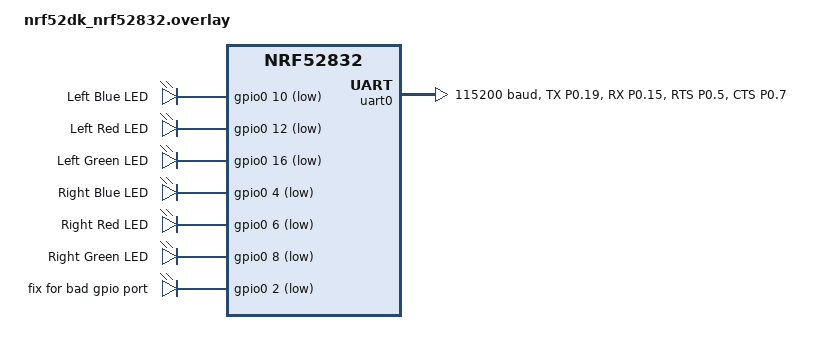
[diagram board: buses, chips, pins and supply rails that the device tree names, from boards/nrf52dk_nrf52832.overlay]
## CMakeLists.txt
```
# SPDX-License-Identifier: Apache-2.0

cmake_minimum_required(VERSION 3.20.0)
find_package(Zephyr REQUIRED HINTS $ENV{ZEPHYR_BASE})
project(servo_motor)

target_sources(app PRIVATE
    src/main.c
    src/rules.c
    src/utility.c
    src/chat_cli.c
    src/model_handler.c
)
```

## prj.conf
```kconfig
#
# Copyright (c) 2020 Nordic Semiconductor ASA
#
# SPDX-License-Identifier: LicenseRef-Nordic-5-Clause
#
CONFIG_STDOUT_CONSOLE=y
CONFIG_PRINTK=y
#CONFIG_PWM=y
CONFIG_NCS_SAMPLES_DEFAULTS=y

CONFIG_LOG=y
#CONFIG_SPI=y
CONFIG_NEWLIB_LIBC=y


# This driver only uses spi_write() with the SPIM instance it allocates,
# so PAN 58 doesn't matter, because the RX length is always 0.
#CONFIG_SOC_NRF52832_ALLOW_SPIM_DESPITE_PAN_58=y

# Deffered logging helps improve LPN power consumption
# when friendship is established.
CONFIG_LOG_MODE_DEFERRED=y

# General configuration
CONFIG_SYSTEM_WORKQUEUE_STACK_SIZE=2048
CONFIG_FLASH=y
CONFIG_FLASH_MAP=y
CONFIG_NVS=y
CONFIG_SETTINGS=y
CONFIG_HWINFO=y
CONFIG_DK_LIBRARY=y
								  
CONFIG_PM_SINGLE_IMAGE=y
CONFIG_PM_PARTITION_SIZE_SETTINGS_STORAGE=0x8000

# Bluetooth configuration
CONFIG_BT=y
CONFIG_BT_COMPANY_ID=0x0059
CONFIG_BT_DEVICE_NAME="Mesh Chat"
CONFIG_BT_L2CAP_TX_MTU=69
CONFIG_BT_L2CAP_TX_BUF_COUNT=8
CONFIG_BT_CTLR_DATA_LENGTH_MAX=37
CONFIG_BT_BUF_ACL_TX_SIZE=37
CONFIG_BT_OBSERVER=y
CONFIG_BT_PERIPHERAL=y
CONFIG_BT_SETTINGS=y

# Disable unused Bluetooth features
CONFIG_BT_CTLR_DUP_FILTER_LEN=0
CONFIG_BT_CTLR_LE_ENC=n
						   
CONFIG_BT_PHY_UPDATE=n
CONFIG_BT_CTLR_CHAN_SEL_2=n
CONFIG_BT_CTLR_MIN_USED_CHAN=n
CONFIG_BT_CTLR_PRIVACY=n

# Bluetooth Mesh configuration
CONFIG_BT_MESH=y
CONFIG_BT_MESH_RELAY=y
CONFIG_BT_MESH_FRIEND=y
CONFIG_BT_MESH_ADV_BUF_COUNT=13
CONFIG_BT_MESH_RX_SEG_MAX=10
CONFIG_BT_MESH_TX_SEG_MAX=20
CONFIG_BT_MESH_TX_SEG_MSG_COUNT=3

CONFIG_BT_MESH_PB_GATT=y
CONFIG_BT_MESH_GATT_PROXY=y
CONFIG_BT_MESH_DK_PROV=y

# Enable Bluetooth mesh models debug logs
CONFIG_BT_DEBUG_LOG=y
#z CONFIG_BT_MESH_LOG_LEVEL_DBG=y

# Enable Shell module and use UART as a backend
# CONFIG_SHELL=y
# CONFIG_SHELL_BACKEND_SERIAL=y

# 32kHz clock source
CONFIG_CLOCK_CONTROL_NRF_K32SRC_RC=y
CONFIG_CLOCK_CONTROL_NRF_K32SRC_500PPM=y

# Enable UART
CONFIG_SERIAL=y
CONFIG_UART_CONSOLE=y
```

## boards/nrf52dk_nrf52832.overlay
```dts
/* SPDX-License-Identifier: Apache-2.0 */
#include <zephyr/dt-bindings/led/led.h>
#include "../nrf52-bindings.h"






&led0 {
	status = "disabled";
};
&led1 {
	status = "disabled";
};
&led2 {
	status = "disabled";
};
&led3 {
	status = "disabled";
};

&button0 {
	status = "disabled";
};

&button1 {
	status = "disabled";
};
&button2 {
	status = "disabled";
};
&button3 {
	status = "disabled";
};



arduino_serial: &uart0 {
	status = "okay";
	compatible = "nordic,nrf-uarte";
	current-speed = <115200>;
	pinctrl-0 = <&uart0_default>;
	pinctrl-1 = <&uart0_sleep>;
	pinctrl-names = "default", "sleep";
};


/ {
	zleds {
		compatible = "gpio-leds";
		
		leda: led_a {
			gpios = <&gpio0 10 GPIO_ACTIVE_LOW>;
			label = "Left Blue LED";
		};			   
		ledb: led_b {
			gpios = <&gpio0 12 GPIO_ACTIVE_LOW>;
			label = "Left Red LED";
		};
		ledc: led_c {
			gpios = <&gpio0 16 GPIO_ACTIVE_LOW>;
			label = "Left Green LED";
		};
		ledd: led_d {
			gpios = <&gpio0 4 GPIO_ACTIVE_LOW>;
			label = "Right Blue LED";
		};	
	
		lede: led_e {
			gpios = <&gpio0 6 GPIO_ACTIVE_LOW>;
			label = "Right Red LED";
		};			   
		ledf: led_f {
			gpios = <&gpio0 8 GPIO_ACTIVE_LOW>;
			label = "Right Green LED";
		};
		ledg: led_g {
			gpios = <&gpio0 2 GPIO_ACTIVE_LOW>;
			label = "fix for bad gpio port";
		};
	};


	buttons {
		compatible = "gpio-keys";
		button0: button_0 {
			gpios = <&gpio0 26 (GPIO_PULL_UP | GPIO_ACTIVE_LOW)>;
			label = "Push button switch 0";
		};
		button1: button_1 {
			gpios = <&gpio0 28 (GPIO_PULL_UP | GPIO_ACTIVE_LOW)>;
			label = "Push button switch 1";
		};
		button2: button_2 {
			gpios = <&gpio0 14 (GPIO_PULL_UP | GPIO_ACTIVE_LOW)>;
			label = "Push button switch 2";
		};
		button3: button_3 {
			gpios = <&gpio0 13 (GPIO_PULL_UP | GPIO_ACTIVE_LOW)>;
			label = "Push button switch 3";
		};
	};
};

&pinctrl {
	uart0_default: uart0_default {
		group1 {
			psels = <NRF_PSEL(UART_TX, 0, 19)>,
			        <NRF_PSEL(UART_RX, 0, 15)>,
			        <NRF_PSEL(UART_RTS, 0, 5)>,
			        <NRF_PSEL(UART_CTS, 0, 7)>;
		};
	};


};
/* SPDX-License-Identifier: Apache-2.0 */
#include <zephyr/dt-bindings/led/led.h>
#include "../nrf52-bindings.h"






&led0 {
	status = "disabled";
};
&led1 {
	status = "disabled";
};
&led2 {
	status = "disabled";
};
&led3 {
	status = "disabled";
};

&button0 {
	status = "disabled";
};

&button1 {
	status = "disabled";
};
&button2 {
	status = "disabled";
};
&button3 {
	status = "disabled";
};



arduino_serial: &uart0 {
	status = "okay";
	compatible = "nordic,nrf-uarte";
	current-speed = <115200>;
	pinctrl-0 = <&uart0_default>;
	pinctrl-1 = <&uart0_sleep>;
	pinctrl-names = "default", "sleep";
};


/ {
	zleds {
		compatible = "gpio-leds";
		
		leda: led_a {
			gpios = <&gpio0 10 GPIO_ACTIVE_LOW>;
			label = "Left Blue LED";
		};			   
		ledb: led_b {
			gpios = <&gpio0 12 GPIO_ACTIVE_LOW>;
			label = "Left Red LED";
		};
		ledc: led_c {
			gpios = <&gpio0 16 GPIO_ACTIVE_LOW>;
			label = "Left Green LED";
		};
		ledd: led_d {
			gpios = <&gpio0 4 GPIO_ACTIVE_LOW>;
			label = "Right Blue LED";
		};	
	
		lede: led_e {
			gpios = <&gpio0 6 GPIO_ACTIVE_LOW>;
			label = "Right Red LED";
		};			   
		ledf: led_f {
			gpios = <&gpio0 8 GPIO_ACTIVE_LOW>;
			label = "Right Green LED";
		};
	};


	buttons {
		compatible = "gpio-keys";
		button0: button_0 {
			gpios = <&gpio0 26 (GPIO_PULL_UP | GPIO_ACTIVE_LOW)>;
			label = "Push button switch 0";
		};
		button1: button_1 {
			gpios = <&gpio0 28 (GPIO_PULL_UP | GPIO_ACTIVE_LOW)>;
			label = "Push button switch 1";
		};
		button2: button_2 {
			gpios = <&gpio0 14 (GPIO_PULL_UP | GPIO_ACTIVE_LOW)>;
			label = "Push button switch 2";
		};
		button3: button_3 {
			gpios = <&gpio0 13 (GPIO_PULL_UP | GPIO_ACTIVE_LOW)>;
			label = "Push button switch 3";
		};
	};
};

&pinctrl {
	uart0_default: uart0_default {
		group1 {
			psels = <NRF_PSEL(UART_TX, 0, 19)>,
			        <NRF_PSEL(UART_RX, 0, 15)>,
			        <NRF_PSEL(UART_RTS, 0, 5)>,
			        <NRF_PSEL(UART_CTS, 0, 7)>;
		};
	};


};
```

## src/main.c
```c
/*
 * Copyright (c) 2016 Intel Corporation
 *
 * SPDX-License-Identifier: Apache-2.0
 */

/**
 * @file Sample app to demonstrate PWM-based servomotor control
 */
#include <stdio.h>
#include <errno.h>
#include <string.h>
#include <zephyr/kernel.h>
#include <zephyr/sys/printk.h>
#include <zephyr/device.h>
#include <zephyr/drivers/uart.h>
#include <zephyr/sys/util.h>
#include <zephyr/bluetooth/bluetooth.h>
#include <bluetooth/mesh/models.h>
#include <bluetooth/mesh/dk_prov.h>
#include <dk_buttons_and_leds.h>
#include "model_handler.h"
#include "rules.h"
#include "utility.h"

#include <zephyr/logging/log.h>
LOG_MODULE_REGISTER(chat, CONFIG_LOG_DEFAULT_LEVEL);

static void bt_ready(int err)
{
	if (err)
	{
		printk("Bluetooth init failed (err %d)\n", err);
		return;
	}

	printk("Bluetooth initialized\n");

	rules_init();
	dk_leds_init();
	dk_buttons_init(NULL);

	err = bt_mesh_init(bt_mesh_dk_prov_init(), model_handler_init());
	if (err)
	{
		printk("Initializing mesh failed (err %d)\n", err);
		return;
	}

	if (IS_ENABLED(CONFIG_SETTINGS))
	{
		settings_load();
	}

	/* This will be a no-op if settings_load() loaded provisioning info */
	bt_mesh_prov_enable(BT_MESH_PROV_ADV | BT_MESH_PROV_GATT);

	printk("Mesh initialized\n");
}

int main(void)
{
	int err;

	z_leds_init();

	err = bt_enable(bt_ready);
	if (err)
	{
		printk("Bluetooth init failed (err %d)\n", err);
	}

	while (1)
	{
		k_sleep(K_MSEC(TICK_INTERVAL_MS));
		timer_tick();
		stateMachine();
	}
	return 0;
}
```

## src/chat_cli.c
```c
/*
 * Copyright (c) 2019 Nordic Semiconductor ASA
 *
 * SPDX-License-Identifier: LicenseRef-Nordic-5-Clause
 */

#include <stdio.h>
#include <errno.h>
#include <string.h>
#include <zephyr/bluetooth/mesh.h>
#include "chat_cli.h"
#include "mesh/net.h"
#include <zephyr/logging/log.h>
LOG_MODULE_DECLARE(chat);

BUILD_ASSERT(BT_MESH_MODEL_BUF_LEN(BT_MESH_CHAT_CLI_OP_MESSAGE,
								   BT_MESH_CHAT_CLI_MSG_MAXLEN_MESSAGE) <=
				 BT_MESH_RX_SDU_MAX,
			 "The message must fit inside an application SDU.");
BUILD_ASSERT(BT_MESH_MODEL_BUF_LEN(BT_MESH_CHAT_CLI_OP_MESSAGE,
								   BT_MESH_CHAT_CLI_MSG_MAXLEN_MESSAGE) <=
				 BT_MESH_TX_SDU_MAX,
			 "The message must fit inside an application SDU.");

static void encode_presence(struct net_buf_simple *buf,
							enum bt_mesh_chat_cli_presence presence)
{
	bt_mesh_model_msg_init(buf, BT_MESH_CHAT_CLI_OP_PRESENCE);
	net_buf_simple_add_u8(buf, presence);
}

static const uint8_t *extract_msg(struct net_buf_simple *buf)
{
	buf->data[buf->len - 1] = '\0';
	return net_buf_simple_pull_mem(buf, buf->len);
}

// Message send to all clients
static int handle_message(struct bt_mesh_model *model, struct bt_mesh_msg_ctx *ctx,
						  struct net_buf_simple *buf)
{
	struct bt_mesh_chat_cli *chat = model->user_data;
	const uint8_t *msg;

	msg = extract_msg(buf);

	if (chat->handlers->message)
	{
		chat->handlers->message(chat, ctx, msg);
	}

	return 0;
}

/* .. include_startingpoint_chat_cli_rst_1 */
static void send_message_reply(struct bt_mesh_chat_cli *chat,
							   struct bt_mesh_msg_ctx *ctx)
{
	BT_MESH_MODEL_BUF_DEFINE(msg, BT_MESH_CHAT_CLI_OP_MESSAGE_REPLY,
							 BT_MESH_CHAT_CLI_MSG_LEN_MESSAGE_REPLY);
	bt_mesh_model_msg_init(&msg, BT_MESH_CHAT_CLI_OP_MESSAGE_REPLY);

	(void)bt_mesh_model_send(chat->model, ctx, &msg, NULL, NULL);
}

// Message send to a specific address
static int handle_private_message(struct bt_mesh_model *model,
								  struct bt_mesh_msg_ctx *ctx,
								  struct net_buf_simple *buf)
{
	struct bt_mesh_chat_cli *chat = model->user_data;
	const uint8_t *msg;

	msg = extract_msg(buf);

	if (chat->handlers->private_message)
	{
		chat->handlers->private_message(chat, ctx, msg);
	}

	send_message_reply(chat, ctx);
	return 0;
}
/* .. include_endpoint_chat_cli_rst_1 */

static int handle_message_reply(struct bt_mesh_model *model, struct bt_mesh_msg_ctx *ctx,
								struct net_buf_simple *buf)
{
	struct bt_mesh_chat_cli *chat = model->user_data;

	if (chat->handlers->message_reply)
	{
		chat->handlers->message_reply(chat, ctx);
	}

	return 0;
}

static int handle_presence(struct bt_mesh_model *model, struct bt_mesh_msg_ctx *ctx,
						   struct net_buf_simple *buf)
{
	struct bt_mesh_chat_cli *chat = model->user_data;
	enum bt_mesh_chat_cli_presence presence;

	presence = net_buf_simple_pull_u8(buf);

	if (chat->handlers->presence)
	{
		chat->handlers->presence(chat, ctx, presence);
	}

	return 0;
}

static int handle_presence_get(struct bt_mesh_model *model, struct bt_mesh_msg_ctx *ctx,
							   struct net_buf_simple *buf)
{
	struct bt_mesh_chat_cli *chat = model->user_data;

	BT_MESH_MODEL_BUF_DEFINE(msg, BT_MESH_CHAT_CLI_OP_PRESENCE,
							 BT_MESH_CHAT_CLI_MSG_LEN_PRESENCE);

	encode_presence(&msg, chat->presence);

	(void)bt_mesh_model_send(chat->model, ctx, &msg, NULL, NULL);

	return 0;
}

/* .. include_startingpoint_chat_cli_rst_2 */
const struct bt_mesh_model_op _bt_mesh_chat_cli_op[] = {
	{BT_MESH_CHAT_CLI_OP_MESSAGE,
	 BT_MESH_LEN_MIN(BT_MESH_CHAT_CLI_MSG_MINLEN_MESSAGE),
	 handle_message},
	{BT_MESH_CHAT_CLI_OP_PRIVATE_MESSAGE,
	 BT_MESH_LEN_MIN(BT_MESH_CHAT_CLI_MSG_MINLEN_MESSAGE),
	 handle_private_message},
	{BT_MESH_CHAT_CLI_OP_MESSAGE_REPLY,
	 BT_MESH_LEN_EXACT(BT_MESH_CHAT_CLI_MSG_LEN_MESSAGE_REPLY),
	 handle_message_reply},
	{BT_MESH_CHAT_CLI_OP_PRESENCE,
	 BT_MESH_LEN_EXACT(BT_MESH_CHAT_CLI_MSG_LEN_PRESENCE),
	 handle_presence},
	{BT_MESH_CHAT_CLI_OP_PRESENCE_GET,
	 BT_MESH_LEN_EXACT(BT_MESH_CHAT_CLI_MSG_LEN_PRESENCE_GET),
	 handle_presence_get},
	BT_MESH_MODEL_OP_END,
};
/* .. include_endpoint_chat_cli_rst_2 */

static int bt_mesh_chat_cli_update_handler(struct bt_mesh_model *model)
{
	struct bt_mesh_chat_cli *chat = model->user_data;

	/* Continue publishing current presence. */
	encode_presence(model->pub->msg, chat->presence);

	return 0;
}

/* .. include_startingpoint_chat_cli_rst_3 */
#ifdef CONFIG_BT_SETTINGS
static int bt_mesh_chat_cli_settings_set(struct bt_mesh_model *model,
										 const char *name,
										 size_t len_rd,
										 settings_read_cb read_cb,
										 void *cb_arg)
{
	struct bt_mesh_chat_cli *chat = model->user_data;

	if (name)
	{
		return -ENOENT;
	}

	ssize_t bytes = read_cb(cb_arg, &chat->presence,
							sizeof(chat->presence));
	if (bytes < 0)
	{
		return bytes;
	}

	if (bytes != 0 && bytes != sizeof(chat->presence))
	{
		return -EINVAL;
	}

	return 0;
}
#endif
/* .. include_endpoint_chat_cli_rst_3 */

/* .. include_startingpoint_chat_cli_rst_4 */
static int bt_mesh_chat_cli_init(struct bt_mesh_model *model)
{
	struct bt_mesh_chat_cli *chat = model->user_data;

	chat->model = model;

	net_buf_simple_init_with_data(&chat->pub_msg, chat->buf,
								  sizeof(chat->buf));
	chat->pub.msg = &chat->pub_msg;
	chat->pub.update = bt_mesh_chat_cli_update_handler;

	return 0;
}
/* .. include_endpoint_chat_cli_rst_4 */

/* .. include_startingpoint_chat_cli_rst_5 */
static int bt_mesh_chat_cli_start(struct bt_mesh_model *model)
{
	struct bt_mesh_chat_cli *chat = model->user_data;

	if (chat->handlers->start)
	{
		chat->handlers->start(chat);
	}

	return 0;
}
/* .. include_endpoint_chat_cli_rst_5 */

/* .. include_startingpoint_chat_cli_rst_6 */
static void bt_mesh_chat_cli_reset(struct bt_mesh_model *model)
{
	struct bt_mesh_chat_cli *chat = model->user_data;

	chat->presence = BT_MESH_CHAT_CLI_PRESENCE_AVAILABLE;

	if (IS_ENABLED(CONFIG_BT_SETTINGS))
	{
		(void)bt_mesh_model_data_store(model, true, NULL, NULL, 0);
	}
}
/* .. include_endpoint_chat_cli_rst_6 */

/* .. include_startingpoint_chat_cli_rst_7 */
const struct bt_mesh_model_cb _bt_mesh_chat_cli_cb = {
	.init = bt_mesh_chat_cli_init,
	.start = bt_mesh_chat_cli_start,
#ifdef CONFIG_BT_SETTINGS
	.settings_set = bt_mesh_chat_cli_settings_set,
#endif
	.reset = bt_mesh_chat_cli_reset,
};
/* .. include_endpoint_chat_cli_rst_7 */

/* .. include_startingpoint_chat_cli_rst_8 */
int bt_mesh_chat_cli_presence_set(struct bt_mesh_chat_cli *chat,
								  enum bt_mesh_chat_cli_presence presence)
{
	if (presence != chat->presence)
	{
		chat->presence = presence;

		if (IS_ENABLED(CONFIG_BT_SETTINGS))
		{
			(void)bt_mesh_model_data_store(chat->model, true,
										   NULL, &presence,
										   sizeof(chat->presence));
		}
	}

	encode_presence(chat->model->pub->msg, chat->presence);

	return bt_mesh_model_publish(chat->model);
}
/* .. include_endpoint_chat_cli_rst_8 */

int bt_mesh_chat_cli_presence_get(struct bt_mesh_chat_cli *chat,
								  uint16_t addr)
{
	struct bt_mesh_msg_ctx ctx = {
		.addr = addr,
		.app_idx = chat->model->keys[0],
		.send_ttl = BT_MESH_TTL_DEFAULT,
		.send_rel = true,
	};

	BT_MESH_MODEL_BUF_DEFINE(buf, BT_MESH_CHAT_CLI_OP_PRESENCE_GET,
							 BT_MESH_CHAT_CLI_MSG_LEN_PRESENCE_GET);
	bt_mesh_model_msg_init(&buf, BT_MESH_CHAT_CLI_OP_PRESENCE_GET);

	return bt_mesh_model_send(chat->model, &ctx, &buf, NULL, NULL);
}
size_t strnlen(const char *s, size_t n); // warning fix
int bt_mesh_chat_cli_message_send(struct bt_mesh_chat_cli *chat,
								  const uint8_t *msg)
{
	struct net_buf_simple *buf = chat->model->pub->msg;

	bt_mesh_model_msg_init(buf, BT_MESH_CHAT_CLI_OP_MESSAGE);

	net_buf_simple_add_mem(buf, msg,
						   strnlen(msg,
								   CONFIG_BT_MESH_CHAT_CLI_MESSAGE_LENGTH));
	net_buf_simple_add_u8(buf, '\0');

	return bt_mesh_model_publish(chat->model);
}

/* .. include_startingpoint_chat_cli_rst_9 */
int bt_mesh_chat_cli_private_message_send(struct bt_mesh_chat_cli *chat,
										  uint16_t addr,
										  const uint8_t *msg)
{
	struct bt_mesh_msg_ctx ctx = {
		.addr = addr,
		.app_idx = chat->model->keys[0],
		.send_ttl = BT_MESH_TTL_DEFAULT,
		.send_rel = true,
	};

	BT_MESH_MODEL_BUF_DEFINE(buf, BT_MESH_CHAT_CLI_OP_PRIVATE_MESSAGE,
							 BT_MESH_CHAT_CLI_MSG_MAXLEN_MESSAGE);
	bt_mesh_model_msg_init(&buf, BT_MESH_CHAT_CLI_OP_PRIVATE_MESSAGE);

	net_buf_simple_add_mem(&buf, msg,
						   strnlen(msg,
								   CONFIG_BT_MESH_CHAT_CLI_MESSAGE_LENGTH));
	net_buf_simple_add_u8(&buf, '\0');

	return bt_mesh_model_send(chat->model, &ctx, &buf, NULL, NULL);
}
/* .. include_endpoint_chat_cli_rst_9 */
```

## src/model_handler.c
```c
/*
 * Copyright (c) 2019 Nordic Semiconductor ASA
 *
 * SPDX-License-Identifier: LicenseRef-Nordic-5-Clause
 */

#include <stdio.h>

#include <zephyr/bluetooth/bluetooth.h>
#include <bluetooth/mesh/models.h>
#include <dk_buttons_and_leds.h>

#include "chat_cli.h"
#include "model_handler.h"
#include "rules.h"
#include "utility.h"

#include <zephyr/logging/log.h>

LOG_MODULE_DECLARE(chat);

static struct k_work_delayable attention_blink_work;
static bool attention;

static void attention_blink(struct k_work *work)
{
	static int idx;
	const uint8_t pattern[] = {
		BIT(0) | BIT(1),
		BIT(1) | BIT(2),
		BIT(2) | BIT(3),
		BIT(3) | BIT(0),
	};

	if (attention)
	{
		dk_set_leds(pattern[idx++ % ARRAY_SIZE(pattern)]);
		k_work_reschedule(&attention_blink_work, K_MSEC(30));
	}
	else
	{
		dk_set_leds(DK_NO_LEDS_MSK);
	}
}

static void attention_on(struct bt_mesh_model *mod)
{
	attention = true;
	k_work_reschedule(&attention_blink_work, K_NO_WAIT);
}

static void attention_off(struct bt_mesh_model *mod)
{
	/* Will stop rescheduling blink timer */
	attention = false;
}

static const struct bt_mesh_health_srv_cb health_srv_cb = {
	.attn_on = attention_on,
	.attn_off = attention_off,
};

static struct bt_mesh_health_srv health_srv = {
	.cb = &health_srv_cb,
};

BT_MESH_HEALTH_PUB_DEFINE(health_pub, 0);

/******************************************************************************/
/***************************** Chat model setup *******************************/
/******************************************************************************/
struct presence_cache
{
	uint16_t addr;
	enum bt_mesh_chat_cli_presence presence;
};

/* Cache of Presence values of other chat clients. */
static struct presence_cache presence_cache[CONFIG_BT_MESH_CHAT_SAMPLE_PRESENCE_CACHE_SIZE];
#if 0
static const uint8_t *presence_string[] = {
	[BT_MESH_CHAT_CLI_PRESENCE_AVAILABLE] = "available",
	[BT_MESH_CHAT_CLI_PRESENCE_AWAY] = "away",
	[BT_MESH_CHAT_CLI_PRESENCE_DO_NOT_DISTURB] = "dnd",
	[BT_MESH_CHAT_CLI_PRESENCE_INACTIVE] = "inactive",
};
#endif

/**
 * Returns true if the specified address is an address of the local element.
 */
static bool address_is_local(struct bt_mesh_model *mod, uint16_t addr)
{
	return bt_mesh_model_elem(mod)->addr == addr;
}

/**
 * Returns true if the provided address is unicast address.
 */
static bool address_is_unicast(uint16_t addr)
{
	return (addr > 0) && (addr <= 0x7FFF);
}

/**
 * Returns true if the node is new or the presence status is different from
 * the one stored in the cache.
 */
static bool presence_cache_entry_check_and_update(uint16_t addr,
												  enum bt_mesh_chat_cli_presence presence)
{
	static size_t presence_cache_head;
	size_t i;

	/* Find address in cache. */
	for (i = 0; i < ARRAY_SIZE(presence_cache); i++)
	{
		if (presence_cache[i].addr == addr)
		{
			if (presence_cache[i].presence == presence)
			{
				return false;
			}

			/* Break since the node in the cache. */
			break;
		}
	}

	/* Not in cache. */
	if (i == ARRAY_SIZE(presence_cache))
	{
		for (i = 0; i < ARRAY_SIZE(presence_cache); i++)
		{
			if (!presence_cache[i].addr)
			{
				break;
			}
		}

		/* Cache is full. */
		if (i == ARRAY_SIZE(presence_cache))
		{
			i = presence_cache_head;
			presence_cache_head = (presence_cache_head + 1) % CONFIG_BT_MESH_CHAT_SAMPLE_PRESENCE_CACHE_SIZE;
		}
	}

	/* Update cache. */
	presence_cache[i].addr = addr;
	presence_cache[i].presence = presence;

	return true;
}

static void print_client_status(void);

static void handle_chat_start(struct bt_mesh_chat_cli *chat)
{
	print_client_status();
}

static void handle_chat_presence(struct bt_mesh_chat_cli *chat,
								 struct bt_mesh_msg_ctx *ctx,
								 enum bt_mesh_chat_cli_presence presence)
{
	if (address_is_local(chat->model, ctx->addr))
	{
		if (address_is_unicast(ctx->recv_dst))
		{
			// shell_print(chat_shell, "<you> are %s",
			// 			presence_string[presence]);
		}
	}
	else
	{
		if (address_is_unicast(ctx->recv_dst))
		{
			// shell_print(chat_shell, "<0x%04X> is %s", ctx->addr,
			// 			presence_string[presence]);
		}
		else if (presence_cache_entry_check_and_update(ctx->addr,
													   presence))
		{
			// shell_print(chat_shell, "<0x%04X> is now %s",
			// 			ctx->addr,
			// presence_string[presence]);
		}
	}
}

// global message received
// we handle messages sent from our own address just like any other message
static void handle_chat_message(struct bt_mesh_chat_cli *chat,
								struct bt_mesh_msg_ctx *ctx,
								const uint8_t *msg)
{
	turnzupMessages(msg[0], ctx->addr);
	// printk("         recG: %c %d\n", msg[0], ctx->addr);
}

// private message received
// we handle messages sent from our own address just like any other message
static void handle_chat_private_message(struct bt_mesh_chat_cli *chat,
										struct bt_mesh_msg_ctx *ctx,
										const uint8_t *msg)
{
	turnzupMessages(msg[0], ctx->addr);
	//	printk("         rec: %c %d\n", msg[0], ctx->addr);
}

static void handle_chat_message_reply(struct bt_mesh_chat_cli *chat,
									  struct bt_mesh_msg_ctx *ctx)
{
}

static const struct bt_mesh_chat_cli_handlers chat_handlers = {
	.start = handle_chat_start,
	.presence = handle_chat_presence,
	.message = handle_chat_message,
	.private_message = handle_chat_private_message,
	.message_reply = handle_chat_message_reply,
};

/* .. include_startingpoint_model_handler_rst_1 */
static struct bt_mesh_chat_cli chat = {
	.handlers = &chat_handlers,
};

static struct bt_mesh_elem elements[] = {
	BT_MESH_ELEM(
		1,
		BT_MESH_MODEL_LIST(
			BT_MESH_MODEL_CFG_SRV,
			BT_MESH_MODEL_HEALTH_SRV(&health_srv, &health_pub)),
		BT_MESH_MODEL_LIST(BT_MESH_MODEL_CHAT_CLI(&chat))),
};
/* .. include_endpoint_model_handler_rst_1 */

static void print_client_status(void)
{
	if (!bt_mesh_is_provisioned())
	{
	}
	else
	{
	}
}

static const struct bt_mesh_comp comp = {
	.cid = CONFIG_BT_COMPANY_ID,
	.elem = elements,
	.elem_count = ARRAY_SIZE(elements),
};

int broadcast_command(char cmd)
{
	int err;
	static char msg_buf[2] = {0, 0};

	msg_buf[0] = cmd;
	err = bt_mesh_chat_cli_message_send(&chat, msg_buf);
	if (err)
	{
		LOG_WRN("Failed to send message: %d", err);
	}
	// printk("Gmsg %c)\n", cmd);

	return 0;
}

void private_command(uint16_t addr, char cmd)
{
	int err;
	static char msg_buf[2] = {0, 0};

	// printk("Pmsg %c %d\n", cmd, addr);

	msg_buf[0] = cmd;
	err = bt_mesh_chat_cli_private_message_send(&chat, addr, msg_buf);
	if (err)
	{
		LOG_WRN("Failed to send message: %d", err);
	}
}

/******************************************************************************/
/******************************** Public API **********************************/
/******************************************************************************/
const struct bt_mesh_comp *model_handler_init(void)
{
	k_work_init_delayable(&attention_blink_work, attention_blink);

	return &comp;
}
```

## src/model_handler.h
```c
/*
 * Copyright (c) 2020 Nordic Semiconductor ASA
 *
 * SPDX-License-Identifier: LicenseRef-Nordic-5-Clause
 */

/**
 * @file
 * @brief Model handler
 */

#ifndef MODEL_HANDLER_H__
#define MODEL_HANDLER_H__

#include <zephyr/bluetooth/mesh.h>

#ifdef __cplusplus
extern "C" {
#endif

const struct bt_mesh_comp *model_handler_init(void);
int broadcast_command(char cmd);
void private_command(uint16_t addr,  char cmd);

#ifdef __cplusplus
}
#endif

#endif /* MODEL_HANDLER_H__ */
```

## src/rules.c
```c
#include <string.h>
#include <zephyr/kernel.h>
#include <zephyr/sys/printk.h>
#include <zephyr/device.h>
#include <zephyr/sys/util.h>
#include <dk_buttons_and_leds.h>
#include <zephyr/device.h>
#include <zephyr/sys/util.h>
#include "rules.h"
#include "utility.h"
#include "model_handler.h"
#include <zephyr/logging/log.h>
LOG_MODULE_REGISTER(rules, CONFIG_LOG_DEFAULT_LEVEL);

static void listen_state();
static void talking_state();
static void waiting_state();
static void startup_state();
static bool check_master_button();
static bool check_talk_button();

uint16_t master_addr = 0x0000;
uint16_t time_msg_sent = 0;
bool warning_issued = false;
bool expired_issued = false;

#define MAX_PLAYERS 10

// used by master player to keep track of players
struct players
{
    uint16_t addr;
    bool talk_request;
    int time_talking;
    int time_total;
    int state;
} players[MAX_PLAYERS];

// used by each player to keep track of their current state
enum turnz_state state = state_startup;

// if a player is in the talking state and someone else is in the waiting state,
// increment the time_talking of the player.
static void update_talking_time()
{
    for (int i = 0; i < MAX_PLAYERS; i++)
    {
        if (players[i].addr != 0 && players[i].state == state_talking)
        {
            // track the total time the player has been talking
            ++players[i].time_total;
            for (int j = 0; j < MAX_PLAYERS; j++)
            {
                if (players[j].addr != 0 && players[j].state == state_waiting)
                {
                    // track the time the player has been talking since someone else has been waiting
                    ++players[i].time_talking;
                    return;
                }
            }
        }
    }
}

// warn the talking player if they have been talking for more than WARNING_TIME seconds
// if it has been more than EXPIRED_TIME seconds, send a cmd_talk_expired to all players
// after 2 more seconds, set the players state to state_listen and add 2 * EXPIRED_TIME to
// their time_total
static void check_talk_time()
{
    // print the time_talking and time_total for each player every second
    if ((get_timer() % (1000 / TICK_INTERVAL_MS)) == 0)
    {
        printk("time:  (%d  %d),  (%d, %d), (%d, %d)\n",
               players[0].time_talking, players[0].time_total, players[1].time_talking, players[1].time_total, players[2].time_talking, players[2].time_total);
    }
    for (int i = 0; i < MAX_PLAYERS; i++)
    {
        if (players[i].addr != 0 && players[i].state == state_talking)
        {
            if (players[i].time_talking == SHUTUP_TIME)
            {
                broadcast_command(cmd_talk_expired_reset);
                private_command(players[i].addr, cmd_listening);
                players[i].state = state_listening;
                players[i].time_talking = 0;
                players[i].time_total += OVERTIME_PENALTY;
                printk("shutup issued\n");
            }
            else if (players[i].time_talking == EXPIRED_TIME)
            {
                broadcast_command(cmd_talk_expired);
                printk("expired issued\n");
            }
            else if (players[i].time_talking == WARNING_TIME)
            {
                private_command(players[i].addr, cmd_talk_warning);
                printk("warning issued\n");
            }
            else
            {
                // printk("time_talking: %d\n", players[i].time_talking);
            }
            return;
        }
    }
}

// The master has received a cmd_talk_request from a player.
// Add the player to the player array, then handle the request later
// in the state machine
static void set_talk_request(uint16_t addr, bool request)
{
    for (int i = 0; i < MAX_PLAYERS; i++)
    {
        if (players[i].addr == addr)
        {
            players[i].talk_request = request;
            return;
        }
    }

    for (int i = 0; i < MAX_PLAYERS; i++)
    {
        if (players[i].addr == 0)
        {
            players[i].addr = addr;
            players[i].talk_request = request;
            return;
        }
    }
}

// return true if no one is currently talking
static bool no_one_talking()
{
    for (int i = 0; i < MAX_PLAYERS; i++)
    {
        if (players[i].addr != 0 && players[i].state == state_talking)
        {
            return false;
        }
    }
    return true;
}

// for each player
//     if the player has a talk_request,
//          if they are talking, send them a cmd_listening and update their state
//          else send them a cmd_talk_start, update their state and return
static void master_handle_talk_requests()
{
    for (int i = 0; i < MAX_PLAYERS; i++)
    {
        if (players[i].addr != 0 && players[i].talk_request)
        {
            players[i].time_talking = 0;
            players[i].talk_request = false;

            if (players[i].state == state_talking || players[i].state == state_waiting)
            {
                private_command(players[i].addr, cmd_listening);
                players[i].state = state_listening;
            }
            else
            {
                private_command(players[i].addr, cmd_waiting);
                players[i].state = state_waiting;
            }
        }
    }
}

// if no one is currently talking, search for the player that is waiting that has the shortest time_total
// and make them the new talker
static void set_new_talker()
{
    if (no_one_talking())
    {

        int min_time = 1000000;
        int min_index = -1;
        for (int i = 0; i < MAX_PLAYERS; i++)
        {
            if (players[i].addr != 0 && players[i].state == state_waiting && players[i].time_total < min_time)
            {
                min_time = players[i].time_total;
                min_index = i;
            }
        }

        if (min_index != -1)
        {
            private_command(players[min_index].addr, cmd_talk_start);
            players[min_index].state = state_talking;
        }
    }
}

static bool check_master_button()
{
    return (isButtonPressed(MASTER_BTN) && timer_expired(time_msg_sent, CLICK_TIME));
}

static bool check_talk_button()
{
    return (isButtonPressed(TALK_BTN) && timer_expired(time_msg_sent, CLICK_TIME));
}

// listen state function
static void listen_state()
{
    if (check_talk_button())
    {
        time_msg_sent = get_timer();
        private_command(master_addr, cmd_talk_request);
    }
    set_led_left(BLUE);
    set_led_right(BLUE);
}

// waiting state function
static void waiting_state()
{
    if (check_talk_button())
    {
        time_msg_sent = get_timer();
        private_command(master_addr, cmd_talk_request);
    }
    set_led_left(GREEN);
    set_led_right(BLUE);
}

// talking state function
static void talking_state()
{
    if (check_talk_button())
    {
        time_msg_sent = get_timer();
        private_command(master_addr, cmd_talk_request);
    }

    if (warning_issued)
    {
        set_led_left(RED);
        set_led_right(RED);
    }
    else
    {
        set_led_left(GREEN);
        set_led_right(GREEN);
    }
}

// startup state function
static void startup_state()
{
    set_led_left(RED);
    set_led_right(BLUE);
}

/******************************************************************************/
/******************************** Public API **********************************/
/******************************************************************************/

// initialize the player array
void rules_init()
{
    for (int i = 0; i < MAX_PLAYERS; i++)
    {
        players[i].addr = 0;
        players[i].time_talking = 0;
        players[i].time_total = 0;
        players[i].state = state_startup;
    }
}

// All chat messages are sent here as a single character command.  Only limited operations
// can be performed in the message handler, so various flags are set here and handled in the
// state machine which is executed in the main loop.
//
void turnzupMessages(char cmd, uint16_t sender_addr)
{
    switch (cmd)
    {
    case cmd_new_session:
        master_addr = sender_addr;
        state = state_listening;
        warning_issued = false;
        expired_issued = false;
        rules_init();
        break;

    case cmd_listening:
        state = state_listening;
        warning_issued = false;
        expired_issued = false;
        printk("time:  (%d  %d),  (%d, %d), (%d, %d)\n",
               players[0].time_talking, players[0].time_total, players[1].time_talking, players[1].time_total, players[2].time_talking, players[2].time_total);
        break;

    case cmd_waiting:
        state = state_waiting;
        break;

    case cmd_talk_request: // received by master from player
        set_talk_request(sender_addr, true);
        break;

    case cmd_talk_start:
        state = state_talking;

        printk("time:  (%d  %d),  (%d, %d), (%d, %d)\n",
               players[0].time_talking, players[0].time_total, players[1].time_talking, players[1].time_total, players[2].time_talking, players[2].time_total);
        break;

    case cmd_talk_warning:
        warning_issued = true;
        break;

    case cmd_talk_expired:
        // state = state_startup;
        expired_issued = true;
        break;

    case cmd_talk_expired_reset:
        warning_issued = false;
        expired_issued = false;
        break;

    default:
        break;
    }
}

//  Tracks the current state for this player.  One player is the master which is
// player that hits the master button to start the game.  Most players simply wait
// for messages from the master, change their state, update the LED indicators and
// if the talk request button is hit, send a talk request message to the master.
//
// The master player handles the talk requests, determines who should talk and
// who should wait, and sends the appropriate messages to the players.
//
// The rules are simple.  You push the button to request to talk, wait for two
// green LEDs, then push it when you are finished talking.  If you talk too long,
// you get a warning, if you still don't shut up, everyones badge flashes. When
// you are done talking, then player with the shortest total talk time gets to talk.
// LED codes:
//  - Blue, Blue:  Listening
//  - Blue, Green:  Waiting to talk
//  - Green, Green:  Your turn to talk
//  - Red, Red:  Warning, you are running out of time, finish quickly
//  - All Badges Flash:  You're an idiot, you talked too long

void stateMachine()
{
    update_talking_time();
    check_talk_time();

    if (check_master_button())
    {
        // starting a new session
        time_msg_sent = get_timer();
        broadcast_command(cmd_new_session);
        // set each player to listening
        for (int i = 0; i < MAX_PLAYERS; i++)
        {
            players[i].state = state_listening;
        }
    }

    master_handle_talk_requests();
    set_new_talker();

    if (expired_issued)
    {
        if ((get_timer() % BLINK_TIME) < (BLINK_TIME / 2))
        {
            set_led_left(RED);
            set_led_right(BLUE);
        }
        else
        {
            set_led_left(GREEN);
            set_led_right(RED);
        }
        return;
    }

    switch (state)
    {
    case state_startup:
        startup_state();
        break;

    case state_listening:
        listen_state();
        break;

    case state_waiting:
        waiting_state();
        break;

    case state_talking:
        talking_state();
        break;

    default:
        set_led_left(GREEN);
        set_led_right(BLUE);
        break;
    }
}
```

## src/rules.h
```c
#ifndef RULES_H__
#define RULES_H__

#define TICK_INTERVAL_MS 50
#define CLICK_TIME (1000 / TICK_INTERVAL_MS) // time until another click is allowed
#define WARNING_TIME (30 * 1000 / TICK_INTERVAL_MS) // time until warning is issued
#define EXPIRED_TIME (40 * 1000 / TICK_INTERVAL_MS) // time until expired is issued
#define SHUTUP_TIME (43 * 1000 / TICK_INTERVAL_MS)  // time until flashing ends
#define BLINK_TIME (500 / TICK_INTERVAL_MS)
#define OVERTIME_PENALTY (100 * 1000 / TICK_INTERVAL_MS) // extra time added for not shutting up
#define MAX_PLAYERS 10

// commands sent in messages
enum turnz_cmd
{
    cmd_new_session = 'N',        // broadcast
    cmd_listening = 'L',          // private
    cmd_waiting = 'W',            // private
    cmd_talk_request = 'R',       // private
    cmd_talk_start = 'T',         // private
    cmd_talk_warning = 'X',       // private
    cmd_talk_expired = 'Y',       // broadcast
    cmd_talk_expired_reset = 'Z', // broadcast
};

// states of the players
enum turnz_state
{
    state_startup,
    state_listening,
    state_waiting,
    state_talking,
};

void rules_init();
void turnzupMessages(char cmd, uint16_t sender_addr);
void stateMachine();

#endif // RULES_H__
```

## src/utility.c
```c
#include <string.h>
#include <zephyr/kernel.h>
#include <zephyr/sys/printk.h>
#include <zephyr/device.h>
#include <zephyr/sys/util.h>
#include <dk_buttons_and_leds.h>

#include <zephyr/device.h>
#include <zephyr/drivers/spi.h>
#include <zephyr/sys/util.h>

#include "rules.h"
#include "utility.h"
#include "model_handler.h"

#include <zephyr/logging/log.h>
LOG_MODULE_REGISTER(utility, CONFIG_LOG_DEFAULT_LEVEL);

#define GPIO_SPEC_AND_COMMA(button_or_led) GPIO_DT_SPEC_GET(button_or_led, gpios),

#define ZLEDS_NODE DT_PATH(zleds)
static const struct gpio_dt_spec zleds[] = {
#if DT_NODE_EXISTS(ZLEDS_NODE)
    DT_FOREACH_CHILD(ZLEDS_NODE, GPIO_SPEC_AND_COMMA)
#endif
};

static int counter = 0;

void timer_tick()
{
    counter++;
}

int get_timer()
{
    return counter;
}

// return true if the timer has expired
bool timer_expired(int starttime, int duration)
{
    return (get_timer() - starttime) > duration;
}

// set LEDs on or off
int z_set_leds_state(uint32_t leds_on_mask, uint32_t leds_off_mask)
{
    if ((leds_on_mask & ~0x7f) != 0 ||
        (leds_off_mask & ~0x7f) != 0)
    {
        return -EINVAL;
    }

    for (size_t i = 0; i < ARRAY_SIZE(zleds); i++)
    {
        int val, err;

        if (BIT(i) & leds_on_mask)
        {
            val = 1;
        }
        else if (BIT(i) & leds_off_mask)
        {
            val = 0;
        }
        else
        {
            continue;
        }

        err = gpio_pin_set_dt(&zleds[i], val);
        if (err)
        {
            LOG_ERR("Cannot write LED gpio");
            return err;
        }
    }

    return 0;
}

// initialize the LEDs
int z_leds_init(void)
{
    int err;

    for (size_t i = 0; i < ARRAY_SIZE(zleds); i++)
    {
        err = gpio_pin_configure_dt(&zleds[i], GPIO_OUTPUT);
        if (err)
        {
            LOG_ERR("Cannot configure zLED gpio");
            return err;
        }
    }

    return z_set_leds_state(0, 0x3f);
}

// set the left LED
void set_led_left(uint32_t val)
{
    // hack to fix the bad left led on one board
    val = val | ((val & BLUE) << 6);
    z_set_leds_state(val, 0x47);
    //  z_set_leds_state(val, 0x47);
}

// set the right LED
void set_led_right(uint32_t val)
{
    z_set_leds_state(val << 3, 0x38);
}

// return true if the button is pressed
bool isButtonPressed(uint32_t button)
{
    uint32_t button_state = 0;
    dk_read_buttons(&button_state, NULL);
    return button_state & button;
}
```

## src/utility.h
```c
#ifndef UTILITY_H__
#define UTILITY_H__

// colors
#define BLACK 0
#define BLUE 1
#define RED 2
#define MAGENTA 3
#define GREEN 4
#define CYAN 5
#define YELLOW 6
#define WHITE 7

#define MASTER_BTN 0x1
#define TALK_BTN 0x02

void timer_tick();
int get_timer();
bool timer_expired(int starttime, int duration);

int z_set_leds_state(uint32_t leds_on_mask, uint32_t leds_off_mask);
int z_leds_init(void);
void set_led_left(uint32_t val);
void set_led_right(uint32_t val);
bool isButtonPressed(uint32_t button);

#endif // UTILITY_H__
```
